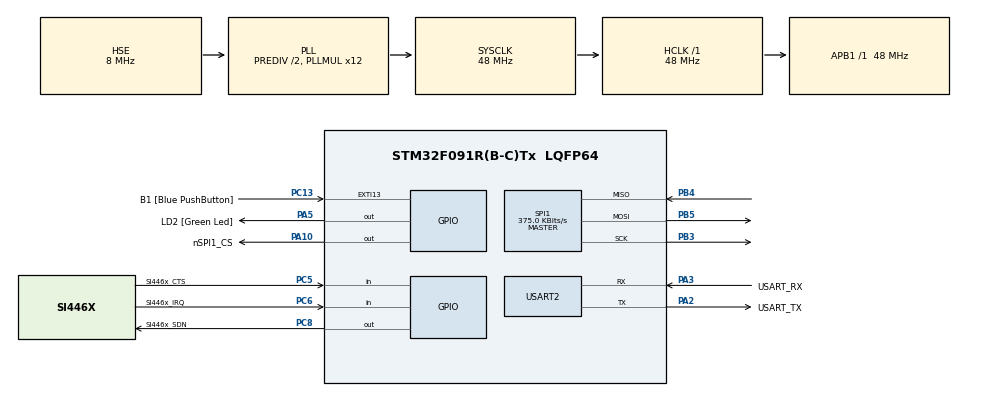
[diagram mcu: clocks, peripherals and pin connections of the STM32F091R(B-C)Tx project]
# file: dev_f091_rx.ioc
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Mcu.Family=STM32F0
Mcu.Name=STM32F091R(B-C)Tx
Mcu.Package=LQFP64
PA10.GPIO_Label=nSPI1_CS
PA10.GPIO_PuPd=GPIO_PULLUP
PA10.Signal=GPIO_Output
PA13.GPIO_Label=TMS
PA13.Mode=Serial_Wire
PA13.Signal=SYS_SWDIO
PA14.GPIO_Label=TCK
PA14.Mode=Serial_Wire
PA14.Signal=SYS_SWCLK
PA2.GPIO_Label=USART_TX
PA2.GPIO_Mode=GPIO_MODE_AF_PP
PA2.GPIO_PuPd=GPIO_NOPULL
PA2.GPIO_Speed=GPIO_SPEED_FREQ_LOW
PA2.Mode=Asynchronous
PA2.Signal=USART2_TX
PA3.GPIO_Label=USART_RX
PA3.GPIO_Mode=GPIO_MODE_AF_PP
PA3.GPIO_PuPd=GPIO_NOPULL
PA3.GPIO_Speed=GPIO_SPEED_FREQ_LOW
PA3.Mode=Asynchronous
PA3.Signal=USART2_RX
PA5.GPIO_Label=LD2 [Green Led]
PA5.GPIO_Mode=GPIO_MODE_OUTPUT_PP
PA5.GPIO_PuPd=GPIO_NOPULL
PA5.GPIO_Speed=GPIO_SPEED_FREQ_LOW
PA5.Signal=GPIO_Output
PB3.GPIO_PuPd=GPIO_PULLUP
PB3.Mode=Full_Duplex_Master
PB3.Signal=SPI1_SCK
PB4.GPIO_PuPd=GPIO_PULLUP
PB4.Mode=Full_Duplex_Master
PB4.Signal=SPI1_MISO
PB5.GPIO_PuPd=GPIO_PULLUP
PB5.Mode=Full_Duplex_Master
PB5.Signal=SPI1_MOSI
PC13.GPIO_Label=B1 [Blue PushButton]
PC13.GPIO_ModeDefaultEXTI=GPIO_MODE_IT_FALLING
PC13.Signal=GPXTI13
PC14OSC32_IN.Mode=LSE-External-Oscillator
PC14OSC32_IN.Signal=RCC_OSC32_IN
PC15OSC32_OUT.Mode=LSE-External-Oscillator
PC15OSC32_OUT.Signal=RCC_OSC32_OUT
PC5.GPIO_Label=SI446x_CTS
PC5.GPIO_PuPd=GPIO_PULLUP
PC5.Signal=GPIO_Input
PC6.GPIO_Label=SI446x_IRQ
PC6.GPIO_PuPd=GPIO_PULLUP
PC6.Signal=GPIO_Input
PC8.GPIO_Label=SI446x_SDN
PC8.GPIO_PuPd=GPIO_PULLUP
PC8.Signal=GPIO_Output
PF0-OSC_IN.Mode=HSE-External-Clock-Source
PF0-OSC_IN.Signal=RCC_OSC_IN
PF1-OSC_OUT.Signal=RCC_OSC_OUT
ProjectManager.HeapSize=0x400
ProjectManager.StackSize=0x600
ProjectManager.TargetToolchain=MDK-ARM V5
RCC.AHBFreq_Value=48000000
RCC.APB1Freq_Value=48000000
RCC.APB1TimFreq_Value=48000000
RCC.FLatency-AdvancedSettings=FLASH_LATENCY_1
RCC.HCLKFreq_Value=48000000
RCC.PLLDivider=RCC_PREDIV_DIV2
RCC.PLLMUL=RCC_PLL_MUL12
RCC.PLLSourceVirtual=RCC_PLLSOURCE_HSE
RCC.PREFETCH_ENABLE-AdvancedSettings=1
RCC.SYSCLKFreq_VALUE=48000000
RCC.SYSCLKSource=RCC_SYSCLKSOURCE_PLLCLK
SPI1.BaudRatePrescaler=SPI_BAUDRATEPRESCALER_128
SPI1.CalculateBaudRate=375.0 KBits/s
SPI1.DataSize=SPI_DATASIZE_8BIT
SPI1.Direction=SPI_DIRECTION_2LINES
SPI1.Mode=SPI_MODE_MASTER
SPI1.VirtualType=VM_MASTER
USART2.VirtualMode=VM_ASYNC
USART2.VirtualMode-Asynchronous=VM_ASYNC
board=NUCLEO-F091RC

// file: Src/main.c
/**
  ******************************************************************************
  * @file           : main.c
  * @brief          : Main program body
  ******************************************************************************
  ** This notice applies to any and all portions of this file
  * that are not between comment pairs USER CODE BEGIN and
  * USER CODE END. Other portions of this file, whether
  * inserted by the user or by software development tools
  * are owned by their respective copyright owners.
  *
  * COPYRIGHT(c) 2018 STMicroelectronics
  *
  * Redistribution and use in source and binary forms, with or without modification,
  * are permitted provided that the following conditions are met:
  *   1. Redistributions of source code must retain the above copyright notice,
  *      this list of conditions and the following disclaimer.
  *   2. Redistributions in binary form must reproduce the above copyright notice,
  *      this list of conditions and the following disclaimer in the documentation
  *      and/or other materials provided with the distribution.
  *   3. Neither the name of STMicroelectronics nor the names of its contributors
  *      may be used to endorse or promote products derived from this software
  *      without specific prior written permission.
  *
  * THIS SOFTWARE IS PROVIDED BY THE COPYRIGHT HOLDERS AND CONTRIBUTORS "AS IS"
  * AND ANY EXPRESS OR IMPLIED WARRANTIES, INCLUDING, BUT NOT LIMITED TO, THE
  * IMPLIED WARRANTIES OF MERCHANTABILITY AND FITNESS FOR A PARTICULAR PURPOSE ARE
  * DISCLAIMED. IN NO EVENT SHALL THE COPYRIGHT HOLDER OR CONTRIBUTORS BE LIABLE
  * FOR ANY DIRECT, INDIRECT, INCIDENTAL, SPECIAL, EXEMPLARY, OR CONSEQUENTIAL
  * DAMAGES (INCLUDING, BUT NOT LIMITED TO, PROCUREMENT OF SUBSTITUTE GOODS OR
  * SERVICES; LOSS OF USE, DATA, OR PROFITS; OR BUSINESS INTERRUPTION) HOWEVER
  * CAUSED AND ON ANY THEORY OF LIABILITY, WHETHER IN CONTRACT, STRICT LIABILITY,
  * OR TORT (INCLUDING NEGLIGENCE OR OTHERWISE) ARISING IN ANY WAY OUT OF THE USE
  * OF THIS SOFTWARE, EVEN IF ADVISED OF THE POSSIBILITY OF SUCH DAMAGE.
  *
  ******************************************************************************
  */
#include "main.h"
#include "stm32f0xx_hal.h"

/* USER CODE BEGIN Includes */
#include "string.h"
#include "radio_hal.h"
#include "radio.h"

/* USER CODE END Includes */

SPI_HandleTypeDef hspi1;

UART_HandleTypeDef huart2;

/* USER CODE BEGIN PV */
/* Private variables ---------------------------------------------------------*/

/* USER CODE END PV */

void SystemClock_Config(void);
static void MX_GPIO_Init(void);
static void MX_USART2_UART_Init(void);
static void MX_SPI1_Init(void);

/* USER CODE BEGIN PFP */
/* Private function prototypes -----------------------------------------------*/

/* USER CODE END PFP */

/* USER CODE BEGIN 0 */
#ifdef __GNUC__
 #define PUTCHAR_PROTOTYPE int __io_putchar(int ch)
#else
 #define PUTCHAR_PROTOTYPE int fputc(int ch, FILE *f)
#endif

PUTCHAR_PROTOTYPE
{
 HAL_UART_Transmit(&huart2, (uint8_t *)&ch, 1, 1);
 return ch;
}
/* USER CODE END 0 */

int main(void)
{

  /* MCU Configuration----------------------------------------------------------*/

  /* Reset of all peripherals, Initializes the Flash interface and the Systick. */
  HAL_Init();

  /* Configure the system clock */
  SystemClock_Config();

  /* Initialize all configured peripherals */
  MX_GPIO_Init();
  MX_USART2_UART_Init();
  MX_SPI1_Init();
  /* USER CODE BEGIN 2 */
	HAL_Delay(500);
	printf("this test is spi test~!!\r\n");
	vRadio_Init();

  // Start RX
  vRadio_StartRX(pRadioConfiguration->Radio_ChannelNumber);
  /* USER CODE END 2 */

  /* Infinite loop */
  while (1)
  {

  /* USER CODE BEGIN 3 */
  if (TRUE == gRadio_CheckReceived())
	{
		if(fixRadioPacket[0] == 'r')
		{
			printf("%s\r\n",fixRadioPacket);
			fixRadioPacket[0] = '\0';
		}
	}

  }
  /* USER CODE END 3 */

}

void SystemClock_Config(void)
{

  RCC_OscInitTypeDef RCC_OscInitStruct;
  RCC_ClkInitTypeDef RCC_ClkInitStruct;
  RCC_PeriphCLKInitTypeDef PeriphClkInit;

    /**Initializes the CPU, AHB and APB busses clocks
    */
  RCC_OscInitStruct.OscillatorType = RCC_OSCILLATORTYPE_HSE;
  RCC_OscInitStruct.HSEState = RCC_HSE_BYPASS;
  RCC_OscInitStruct.PLL.PLLState = RCC_PLL_ON;
  RCC_OscInitStruct.PLL.PLLSource = RCC_PLLSOURCE_HSE;
  RCC_OscInitStruct.PLL.PLLMUL = RCC_PLL_MUL12;
  RCC_OscInitStruct.PLL.PREDIV = RCC_PREDIV_DIV2;
  if (HAL_RCC_OscConfig(&RCC_OscInitStruct) != HAL_OK)
  {
    _Error_Handler(__FILE__, __LINE__);
  }

    /**Initializes the CPU, AHB and APB busses clocks
    */
  RCC_ClkInitStruct.ClockType = RCC_CLOCKTYPE_HCLK|RCC_CLOCKTYPE_SYSCLK
                              |RCC_CLOCKTYPE_PCLK1;
  RCC_ClkInitStruct.SYSCLKSource = RCC_SYSCLKSOURCE_PLLCLK;
  RCC_ClkInitStruct.AHBCLKDivider = RCC_SYSCLK_DIV1;
  RCC_ClkInitStruct.APB1CLKDivider = RCC_HCLK_DIV1;

  if (HAL_RCC_ClockConfig(&RCC_ClkInitStruct, FLASH_LATENCY_1) != HAL_OK)
  {
    _Error_Handler(__FILE__, __LINE__);
  }

  PeriphClkInit.PeriphClockSelection = RCC_PERIPHCLK_USART2;
  PeriphClkInit.Usart2ClockSelection = RCC_USART2CLKSOURCE_PCLK1;
  if (HAL_RCCEx_PeriphCLKConfig(&PeriphClkInit) != HAL_OK)
  {
    _Error_Handler(__FILE__, __LINE__);
  }

    /**Configure the Systick interrupt time
    */
  HAL_SYSTICK_Config(HAL_RCC_GetHCLKFreq()/1000);

    /**Configure the Systick
    */
  HAL_SYSTICK_CLKSourceConfig(SYSTICK_CLKSOURCE_HCLK);

  /* SysTick_IRQn interrupt configuration */
  HAL_NVIC_SetPriority(SysTick_IRQn, 0, 0);
}

/* SPI1 init function */
static void MX_SPI1_Init(void)
{

  /* SPI1 parameter configuration*/
  hspi1.Instance = SPI1;
  hspi1.Init.Mode = SPI_MODE_MASTER;
  hspi1.Init.Direction = SPI_DIRECTION_2LINES;
  hspi1.Init.DataSize = SPI_DATASIZE_8BIT;
  hspi1.Init.CLKPolarity = SPI_POLARITY_LOW;
  hspi1.Init.CLKPhase = SPI_PHASE_1EDGE;
  hspi1.Init.NSS = SPI_NSS_SOFT;
  hspi1.Init.BaudRatePrescaler = SPI_BAUDRATEPRESCALER_128;
  hspi1.Init.FirstBit = SPI_FIRSTBIT_MSB;
  hspi1.Init.TIMode = SPI_TIMODE_DISABLE;
  hspi1.Init.CRCCalculation = SPI_CRCCALCULATION_DISABLE;
  hspi1.Init.CRCPolynomial = 7;
  hspi1.Init.CRCLength = SPI_CRC_LENGTH_DATASIZE;
  hspi1.Init.NSSPMode = SPI_NSS_PULSE_ENABLE;
  if (HAL_SPI_Init(&hspi1) != HAL_OK)
  {
    _Error_Handler(__FILE__, __LINE__);
  }

}

/* USART2 init function */
static void MX_USART2_UART_Init(void)
{

  huart2.Instance = USART2;
  huart2.Init.BaudRate = 115200;
  huart2.Init.WordLength = UART_WORDLENGTH_8B;
  huart2.Init.StopBits = UART_STOPBITS_1;
  huart2.Init.Parity = UART_PARITY_NONE;
  huart2.Init.Mode = UART_MODE_TX_RX;
  huart2.Init.HwFlowCtl = UART_HWCONTROL_NONE;
  huart2.Init.OverSampling = UART_OVERSAMPLING_16;
  huart2.Init.OneBitSampling = UART_ONE_BIT_SAMPLE_DISABLE;
  huart2.AdvancedInit.AdvFeatureInit = UART_ADVFEATURE_NO_INIT;
  if (HAL_UART_Init(&huart2) != HAL_OK)
  {
    _Error_Handler(__FILE__, __LINE__);
  }

}

/** Configure pins as
        * Analog
        * Input
        * Output
        * EVENT_OUT
        * EXTI
*/
static void MX_GPIO_Init(void)
{

  GPIO_InitTypeDef GPIO_InitStruct;

  /* GPIO Ports Clock Enable */
  __HAL_RCC_GPIOC_CLK_ENABLE();
  __HAL_RCC_GPIOF_CLK_ENABLE();
  __HAL_RCC_GPIOA_CLK_ENABLE();
  __HAL_RCC_GPIOB_CLK_ENABLE();

  /*Configure GPIO pin Output Level */
  HAL_GPIO_WritePin(GPIOA, LD2_Pin|nSPI1_CS_Pin, GPIO_PIN_RESET);

  /*Configure GPIO pin Output Level */
  HAL_GPIO_WritePin(SI446x_SDN_GPIO_Port, SI446x_SDN_Pin, GPIO_PIN_RESET);

  /*Configure GPIO pin : B1_Pin */
  GPIO_InitStruct.Pin = B1_Pin;
  GPIO_InitStruct.Mode = GPIO_MODE_IT_FALLING;
  GPIO_InitStruct.Pull = GPIO_NOPULL;
  HAL_GPIO_Init(B1_GPIO_Port, &GPIO_InitStruct);

  /*Configure GPIO pin : LD2_Pin */
  GPIO_InitStruct.Pin = LD2_Pin;
  GPIO_InitStruct.Mode = GPIO_MODE_OUTPUT_PP;
  GPIO_InitStruct.Pull = GPIO_NOPULL;
  GPIO_InitStruct.Speed = GPIO_SPEED_FREQ_LOW;
  HAL_GPIO_Init(LD2_GPIO_Port, &GPIO_InitStruct);

  /*Configure GPIO pins : SI446x_CTS_Pin SI446x_IRQ_Pin */
  GPIO_InitStruct.Pin = SI446x_CTS_Pin|SI446x_IRQ_Pin;
  GPIO_InitStruct.Mode = GPIO_MODE_INPUT;
  GPIO_InitStruct.Pull = GPIO_PULLUP;
  HAL_GPIO_Init(GPIOC, &GPIO_InitStruct);

  /*Configure GPIO pin : SI446x_SDN_Pin */
  GPIO_InitStruct.Pin = SI446x_SDN_Pin;
  GPIO_InitStruct.Mode = GPIO_MODE_OUTPUT_PP;
  GPIO_InitStruct.Pull = GPIO_PULLUP;
  GPIO_InitStruct.Speed = GPIO_SPEED_FREQ_LOW;
  HAL_GPIO_Init(SI446x_SDN_GPIO_Port, &GPIO_InitStruct);

  /*Configure GPIO pin : nSPI1_CS_Pin */
  GPIO_InitStruct.Pin = nSPI1_CS_Pin;
  GPIO_InitStruct.Mode = GPIO_MODE_OUTPUT_PP;
  GPIO_InitStruct.Pull = GPIO_PULLUP;
  GPIO_InitStruct.Speed = GPIO_SPEED_FREQ_LOW;
  HAL_GPIO_Init(nSPI1_CS_GPIO_Port, &GPIO_InitStruct);

}

void _Error_Handler(char *file, int line)
{
  while(1)
  {
  }
}

/************************ (C) COPYRIGHT STMicroelectronics *****END OF FILE****/
